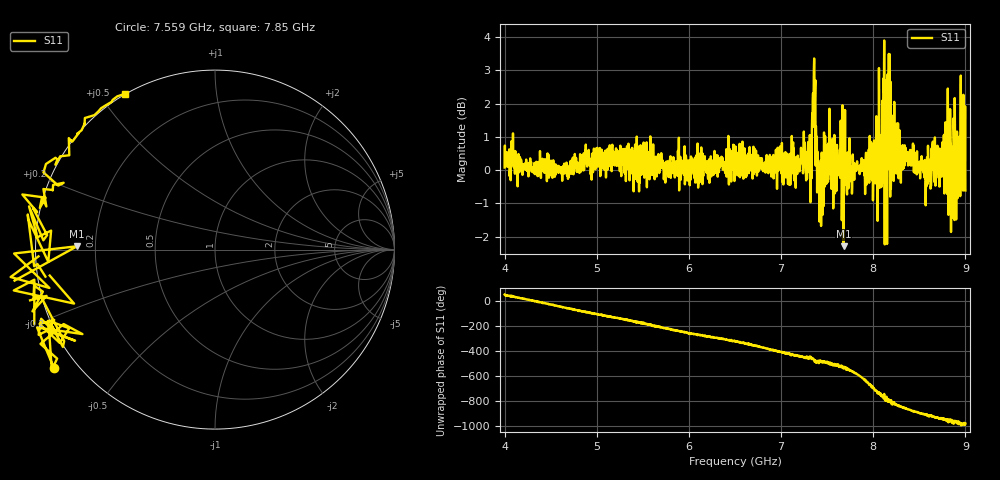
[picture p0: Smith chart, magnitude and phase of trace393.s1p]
! Created with skrf 1.8.0 (http://scikit-rf.org).
# Hz S RI R 50.0
!freq ReS11 ImS11
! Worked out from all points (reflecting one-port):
!   1601 points, 4 GHz to 9 GHz, reference 50 ohm
!   lowest |S11| = -2.3 dB at 7.678 GHz (marker M1), VSWR 7.63, Z = 6.55 + j0.599 ohm
!   phase of S11 starts at 54 deg and turns -1039 deg over the sweep
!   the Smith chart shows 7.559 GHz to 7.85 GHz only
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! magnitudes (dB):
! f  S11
! 4 GHz  0.1
! 4.625 GHz  -0.3
! 5.25 GHz  0.0
! 5.875 GHz  0.2
! 6.5 GHz  0.2
! 7.125 GHz  0.0
! 7.294 GHz  0.8
! 7.359 GHz  3.4
! 7.4 GHz  0.0
! 7.425 GHz  -0.1
! 7.538 GHz  0.8
! 7.591 GHz  0.5
! 7.678 GHz  -2.3
! 7.75 GHz  0.1
! 8.003 GHz  -0.4
! 8.05 GHz  1.4
! 8.066 GHz  0.7
! 8.122 GHz  0.9
! 8.147 GHz  2.0
! 8.153 GHz  1.1
! 8.178 GHz  3.5
! 8.209 GHz  1.6
! 8.375 GHz  0.5
! 8.566 GHz  0.2
! 8.788 GHz  -0.4
! 8.841 GHz  0.8
! 8.956 GHz  -0.2
! 9 GHz  -0.6
